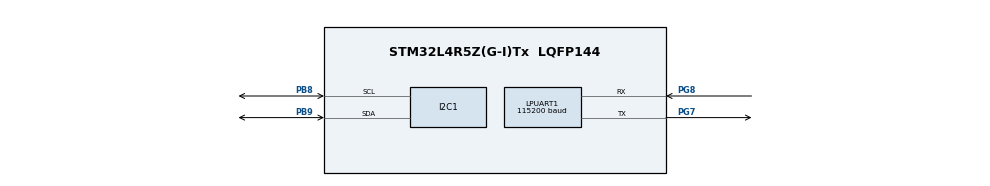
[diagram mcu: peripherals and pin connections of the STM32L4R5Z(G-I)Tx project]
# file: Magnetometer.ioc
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I2C1.Timing=0x00100D14
LPUART1.BaudRate=115200
LPUART1.WordLength=UART_WORDLENGTH_8B
Mcu.Family=STM32L4
Mcu.Name=STM32L4R5Z(G-I)Tx
Mcu.Package=LQFP144
NVIC.PriorityGroup=NVIC_PRIORITYGROUP_4
PB8.Mode=I2C
PB8.Signal=I2C1_SCL
PB9.Mode=I2C
PB9.Signal=I2C1_SDA
PG7.Mode=Asynchronous
PG7.Signal=LPUART1_TX
PG8.Mode=Asynchronous
PG8.Signal=LPUART1_RX
ProjectManager.HeapSize=0x200
ProjectManager.StackSize=0x400
ProjectManager.TargetToolchain=Makefile
RCC.HSE_VALUE=8000000
RCC.HSI48_VALUE=48000000
RCC.HSI_VALUE=16000000
RCC.LSE_VALUE=32768
RCC.MSI_VALUE=4000000
RCC.VCOOutputFreq_Value=32000000
board=custom

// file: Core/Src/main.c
/* USER CODE BEGIN Header */
/**
  ******************************************************************************
  * @file           : main.c
  * @brief          : Main program body
  ******************************************************************************
  * @attention
  *
  * Copyright (c) 2026 STMicroelectronics.
  * All rights reserved.
  *
  * This software is licensed under terms that can be found in the LICENSE file
  * in the root directory of this software component.
  * If no LICENSE file comes with this software, it is provided AS-IS.
  *
  ******************************************************************************
  */
/* USER CODE END Header */
#include "main.h"

/* USER CODE BEGIN Includes */
#include "lis2mdl.h"
#include <stdio.h>
#include <string.h>
/* USER CODE END Includes */

I2C_HandleTypeDef hi2c1;

UART_HandleTypeDef hlpuart1;

/* USER CODE BEGIN PV */
LIS2MDL_Data mag;
HAL_StatusTypeDef mag_status;
char message[128];
/* USER CODE END PV */

void SystemClock_Config(void);
static void MX_GPIO_Init(void);
static void MX_I2C1_Init(void);
static void MX_LPUART1_UART_Init(void);

int main(void)
{

  /* MCU Configuration--------------------------------------------------------*/

  /* Reset of all peripherals, Initializes the Flash interface and the Systick. */
  HAL_Init();

  /* Configure the system clock */
  SystemClock_Config();

  /* Initialize all configured peripherals */
  MX_GPIO_Init();
  MX_I2C1_Init();
  MX_LPUART1_UART_Init();
  /* USER CODE BEGIN 2 */
  const char *startup = "Starting LIS2MDL...\r\n";
  HAL_UART_Transmit(&hlpuart1, (uint8_t *)startup,
                    (uint16_t)strlen(startup), 100);

  mag_status = LIS2MDL_Init(&hi2c1);

  if (mag_status != HAL_OK)
  {
      const char *error =
          "Sensor init failed. Check VIN, GND, SCL and SDA.\r\n";

      HAL_UART_Transmit(&hlpuart1, (uint8_t *)error,
                        (uint16_t)strlen(error), 100);

      Error_Handler();
  }
  /* USER CODE END 2 */

  /* Infinite loop */
  while (1)
  {
    /* USER CODE BEGIN 3 */
    mag_status = LIS2MDL_Read(&hi2c1, &mag);

    if (mag_status == HAL_OK)
    {
        /* Output in nanotesla: 1000 nT = 1 microtesla.
          Integer formatting avoids printf float configuration. */
        snprintf(message, sizeof(message),
                "X=%ld nT, Y=%ld nT, Z=%ld nT\r\n",
                (long)mag.x_raw * 150L,
                (long)mag.y_raw * 150L,
                (long)mag.z_raw * 150L);

        HAL_UART_Transmit(&hlpuart1, (uint8_t *)message,
                          (uint16_t)strlen(message), 100);
    }
    else if (mag_status != HAL_BUSY)
    {
        const char *error = "I2C read failed\r\n";

        HAL_UART_Transmit(&hlpuart1, (uint8_t *)error,
                          (uint16_t)strlen(error), 100);

        HAL_Delay(500);
    }

    /* HAL_BUSY simply means the next measurement is not ready. */
    HAL_Delay(10);

  }
  /* USER CODE END 3 */
}

void SystemClock_Config(void)
{
  RCC_OscInitTypeDef RCC_OscInitStruct = {0};
  RCC_ClkInitTypeDef RCC_ClkInitStruct = {0};

  /** Configure the main internal regulator output voltage
  */
  if (HAL_PWREx_ControlVoltageScaling(PWR_REGULATOR_VOLTAGE_SCALE1) != HAL_OK)
  {
    Error_Handler();
  }

  /** Initializes the RCC Oscillators according to the specified parameters
  * in the RCC_OscInitTypeDef structure.
  */
  RCC_OscInitStruct.OscillatorType = RCC_OSCILLATORTYPE_MSI;
  RCC_OscInitStruct.MSIState = RCC_MSI_ON;
  RCC_OscInitStruct.MSICalibrationValue = 0;
  RCC_OscInitStruct.MSIClockRange = RCC_MSIRANGE_6;
  RCC_OscInitStruct.PLL.PLLState = RCC_PLL_NONE;
  if (HAL_RCC_OscConfig(&RCC_OscInitStruct) != HAL_OK)
  {
    Error_Handler();
  }

  /** Initializes the CPU, AHB and APB buses clocks
  */
  RCC_ClkInitStruct.ClockType = RCC_CLOCKTYPE_HCLK|RCC_CLOCKTYPE_SYSCLK
                              |RCC_CLOCKTYPE_PCLK1|RCC_CLOCKTYPE_PCLK2;
  RCC_ClkInitStruct.SYSCLKSource = RCC_SYSCLKSOURCE_MSI;
  RCC_ClkInitStruct.AHBCLKDivider = RCC_SYSCLK_DIV1;
  RCC_ClkInitStruct.APB1CLKDivider = RCC_HCLK_DIV1;
  RCC_ClkInitStruct.APB2CLKDivider = RCC_HCLK_DIV1;

  if (HAL_RCC_ClockConfig(&RCC_ClkInitStruct, FLASH_LATENCY_0) != HAL_OK)
  {
    Error_Handler();
  }
}

static void MX_I2C1_Init(void)
{

  hi2c1.Instance = I2C1;
  hi2c1.Init.Timing = 0x00100D14;
  hi2c1.Init.OwnAddress1 = 0;
  hi2c1.Init.AddressingMode = I2C_ADDRESSINGMODE_7BIT;
  hi2c1.Init.DualAddressMode = I2C_DUALADDRESS_DISABLE;
  hi2c1.Init.OwnAddress2 = 0;
  hi2c1.Init.OwnAddress2Masks = I2C_OA2_NOMASK;
  hi2c1.Init.GeneralCallMode = I2C_GENERALCALL_DISABLE;
  hi2c1.Init.NoStretchMode = I2C_NOSTRETCH_DISABLE;
  if (HAL_I2C_Init(&hi2c1) != HAL_OK)
  {
    Error_Handler();
  }

  /** Configure Analogue filter
  */
  if (HAL_I2CEx_ConfigAnalogFilter(&hi2c1, I2C_ANALOGFILTER_ENABLE) != HAL_OK)
  {
    Error_Handler();
  }

  /** Configure Digital filter
  */
  if (HAL_I2CEx_ConfigDigitalFilter(&hi2c1, 0) != HAL_OK)
  {
    Error_Handler();
  }

}

static void MX_LPUART1_UART_Init(void)
{

  hlpuart1.Instance = LPUART1;
  hlpuart1.Init.BaudRate = 115200;
  hlpuart1.Init.WordLength = UART_WORDLENGTH_8B;
  hlpuart1.Init.StopBits = UART_STOPBITS_1;
  hlpuart1.Init.Parity = UART_PARITY_NONE;
  hlpuart1.Init.Mode = UART_MODE_TX_RX;
  hlpuart1.Init.HwFlowCtl = UART_HWCONTROL_NONE;
  hlpuart1.Init.OneBitSampling = UART_ONE_BIT_SAMPLE_DISABLE;
  hlpuart1.Init.ClockPrescaler = UART_PRESCALER_DIV1;
  hlpuart1.AdvancedInit.AdvFeatureInit = UART_ADVFEATURE_NO_INIT;
  hlpuart1.FifoMode = UART_FIFOMODE_DISABLE;
  if (HAL_UART_Init(&hlpuart1) != HAL_OK)
  {
    Error_Handler();
  }
  if (HAL_UARTEx_SetTxFifoThreshold(&hlpuart1, UART_TXFIFO_THRESHOLD_1_8) != HAL_OK)
  {
    Error_Handler();
  }
  if (HAL_UARTEx_SetRxFifoThreshold(&hlpuart1, UART_RXFIFO_THRESHOLD_1_8) != HAL_OK)
  {
    Error_Handler();
  }
  if (HAL_UARTEx_DisableFifoMode(&hlpuart1) != HAL_OK)
  {
    Error_Handler();
  }

}

static void MX_GPIO_Init(void)
{

  /* GPIO Ports Clock Enable */
  __HAL_RCC_GPIOG_CLK_ENABLE();
  HAL_PWREx_EnableVddIO2();
  __HAL_RCC_GPIOB_CLK_ENABLE();

}

void Error_Handler(void)
{
  __disable_irq();
  while (1)
  {
  }
}
